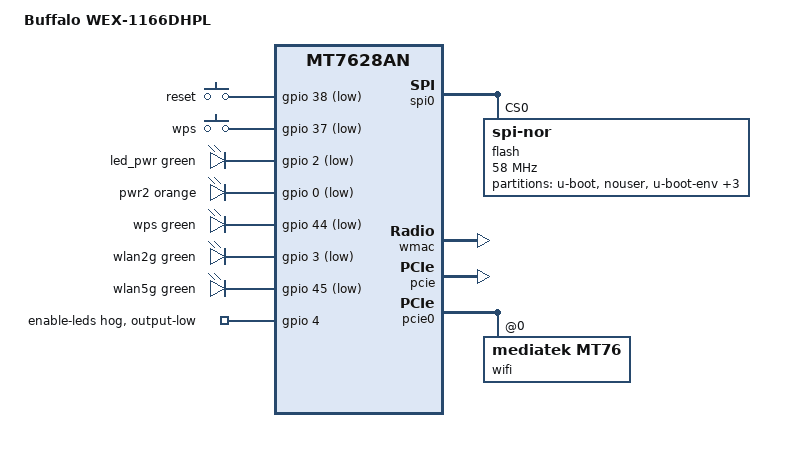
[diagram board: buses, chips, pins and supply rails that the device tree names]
// SPDX-License-Identifier: GPL-2.0-or-later OR MIT

#include "mt7628an.dtsi"

#include <dt-bindings/gpio/gpio.h>
#include <dt-bindings/input/input.h>
#include <dt-bindings/leds/common.h>

/ {
	compatible = "buffalo,wex-1166dhpl", "mediatek,mt7628an-soc";
	model = "Buffalo WEX-1166DHPL";

	aliases {
		led-boot = &led_pwr;
		led-failsafe = &led_pwr;
		led-running = &led_pwr;
		led-upgrade = &led_pwr;
		label-mac-device = &ethernet;
	};

	keys {
		compatible = "gpio-keys";

		reset {
			label = "reset";
			gpios = <&gpio 38 GPIO_ACTIVE_LOW>;
			linux,code = <KEY_RESTART>;
		};

		wps {
			label = "wps";
			gpios = <&gpio 37 GPIO_ACTIVE_LOW>;
			linux,code = <KEY_WPS_BUTTON>;
		};
	};

	leds {
		compatible = "gpio-leds";

		led_pwr: pwr {
			function = LED_FUNCTION_STATUS;
			color = <LED_COLOR_ID_GREEN>;
			gpios = <&gpio 2 GPIO_ACTIVE_LOW>;
		};

		pwr2 {
			gpios = <&gpio 0 GPIO_ACTIVE_LOW>;
			color = <LED_COLOR_ID_ORANGE>;
		};

		wps {
			function = LED_FUNCTION_WPS;
			color = <LED_COLOR_ID_GREEN>;
			gpios = <&gpio 44 GPIO_ACTIVE_LOW>;
			linux,default-trigger = "phy1tpt";
		};

		wlan2g {
			function = LED_FUNCTION_WLAN_2GHZ;
			color = <LED_COLOR_ID_GREEN>;
			gpios = <&gpio 3 GPIO_ACTIVE_LOW>;
			linux,default-trigger = "phy0tpt";
		};

		wlan5g {
			function = LED_FUNCTION_WLAN_5GHZ;
			color = <LED_COLOR_ID_GREEN>;
			gpios = <&gpio 45 GPIO_ACTIVE_LOW>;
			linux,default-trigger = "phy1tpt";
		};
	};
};

&spi0 {
	status = "okay";

	flash@0 {
		compatible = "jedec,spi-nor";
		reg = <0>;
		spi-max-frequency = <58000000>;
		m25p,fast-read;

		partitions {
			compatible = "fixed-partitions";
			#address-cells = <1>;
			#size-cells = <1>;

			partition@0 {
				label = "u-boot";
				reg = <0x0 0x20000>;
				read-only;
			};

			partition@20000 {
				label = "nouser";
				reg = <0x20000 0x10000>;
				read-only;
			};

			partition@30000 {
				label = "u-boot-env";
				reg = <0x30000 0x10000>;
				read-only;
			};

			partition@40000 {
				label = "factory";
				reg = <0x40000 0x10000>;
				read-only;

				nvmem-layout {
					compatible = "fixed-layout";
					#address-cells = <1>;
					#size-cells = <1>;

					eeprom_factory_0: eeprom@0 {
						reg = <0x0 0x400>;
					};

					macaddr_factory_4: macaddr@4 {
						reg = <0x4 0x6>;
					};

					eeprom_factory_8000: eeprom@8000 {
						reg = <0x8000 0x200>;
					};
				};
			};

			partition@50000 {
				compatible = "denx,uimage";
				label = "firmware";
				reg = <0x50000 0x7b0000>;
			};

			partition@850000 {
				compatible = "denx,uimage";
				label = "firmware2";
				reg = <0x850000 0x7b0000>;
			};

		};
	};
};

&gpio {
	enable-leds {
		gpio-hog;
		line-name = "enable-leds";
		output-low;
		gpios = <4 GPIO_ACTIVE_HIGH>;
	};
};

&ethernet {
	nvmem-cells = <&macaddr_factory_4>;
	nvmem-cell-names = "mac-address";
};

&esw {
	mediatek,portmap = <0x3e>;
	mediatek,led_source = <4>;
};

&wmac {
	status = "okay";

	nvmem-cells = <&eeprom_factory_0>;
	nvmem-cell-names = "eeprom";
};

&pcie {
	status = "okay";
};

&pcie0 {
	wifi@0,0 {
		compatible = "mediatek,mt76";
		reg = <0x0000 0 0 0 0>;
		nvmem-cells = <&eeprom_factory_8000>;
		nvmem-cell-names = "eeprom";
		ieee80211-freq-limit = <5000000 6000000>;

		led {
			led-sources = <2>;
			led-active-low;
		};
	};
};

&usbphy {
	status = "disabled";
};

&ehci {
	status = "disabled";
};

&ohci {
	status = "disabled";
};

&state_default {
	spis {
		groups = "spis";
		function = "spis";
	};

	gpio {
		groups = "refclk", "i2c", "wled_an";
		function = "gpio";
	};
};

